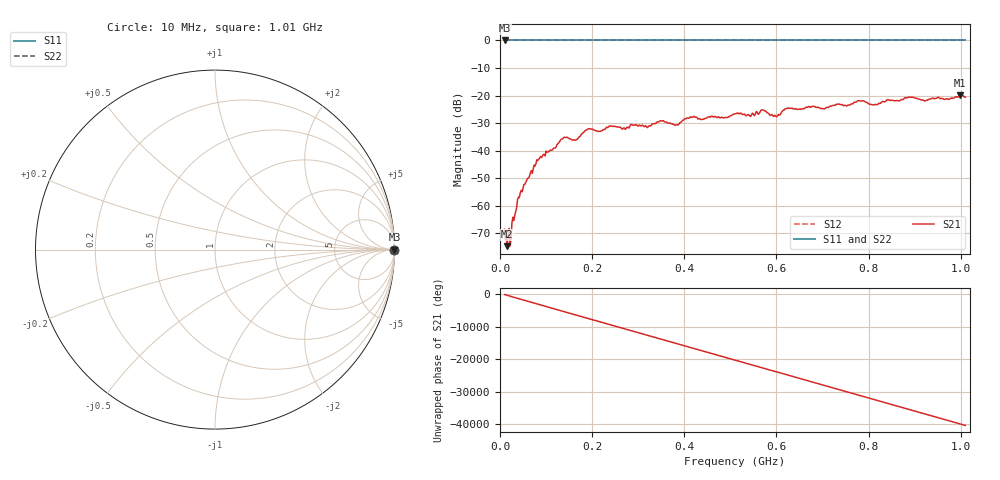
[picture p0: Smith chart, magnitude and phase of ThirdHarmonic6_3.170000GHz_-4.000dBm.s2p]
! 8/17/2025 9:32:29 AM
! C:\ANRITSUVNA\TEMP\TEMP.S2P
! CHANNEL.1
! TR.MEASUREMENT
! RAW.DATA
! RF.CORRECTION.OFF
! AVERAGING.OFF
! IF.BANDWIDTH: 5KHZ
! SWEEPTYPE:  FREQ.SWEEP(Linear)
! Reference Plane Port Info
! PORT:  PORT1  PORT2
! DISTANCE:  0  m  0  m
! TIME:  0  s  0  s
! PHASE.OFFSET:  0  deg.  0  deg.
! LOSS:  0  dB  0  dB
! REF.LOSS:  0  dB  0  dB
! REF.FREQ:  0  Hz  0  Hz
! Power Info
! POWER:  -20  dBm  -20  dBm
! EFF.POWER:  -20  dBm  -20  dBm
! SOURCE.ATTEN:  0  dB  0  dB
! TEST.ATTEN:  0  dB  0  dB
# GHZ S RI R 50.0
! FREQ.GHZ  S11RE  S11IM  S21RE  S21IM  S12RE  S12IM  S22RE  S22IM
!; PortSelection: Port_12
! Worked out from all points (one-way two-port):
!   501 points, 10 MHz to 1.01 GHz, reference 50 ohm
!   highest |S21| = -19.90 dB at 998 MHz (marker M1); lowest = -74.6 dB at 16 MHz (marker M2)
!   lowest |S11| = 0.0 dB at 10 MHz (marker M3)
!   |S11| at or under -10 dB: nowhere
!   |S22| runs from 0.0 to 0.0 dB; largest |S21 - S12| = 1.1
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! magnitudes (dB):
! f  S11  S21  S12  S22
! 10 MHz  0.0  -68.5  0.0  0.0
! 16 MHz  0.0  -74.6  0.0  0.0
! 20 MHz  0.0  -68.2  0.0  0.0
! 26 MHz  0.0  -66.0  0.0  0.0
! 42 MHz  0.0  -57.0  0.0  0.0
! 84 MHz  0.0  -43.1  0.0  0.0
! 136 MHz  0.0  -35.7  0.0  0.0
! 164 MHz  0.0  -36.2  0.0  0.0
! 178 MHz  0.0  -33.8  0.0  0.0
! 194 MHz  0.0  -32.0  0.0  0.0
! 322 MHz  0.0  -31.2  0.0  0.0
! 344 MHz  0.0  -29.6  0.0  0.0
! 384 MHz  0.0  -30.6  0.0  0.0
! 416 MHz  0.0  -27.9  0.0  0.0
! 510 MHz  0.0  -26.6  0.0  0.0
! 570 MHz  0.0  -25.2  0.0  0.0
! 598 MHz  0.0  -27.4  0.0  0.0
! 622 MHz  0.0  -24.7  0.0  0.0
! 678 MHz  0.0  -24.0  0.0  0.0
! 844 MHz  0.0  -21.6  0.0  0.0
! 998 MHz  0.0  -19.9  0.0  0.0
! 1.01 GHz  0.0  -20.5  0.0  0.0
